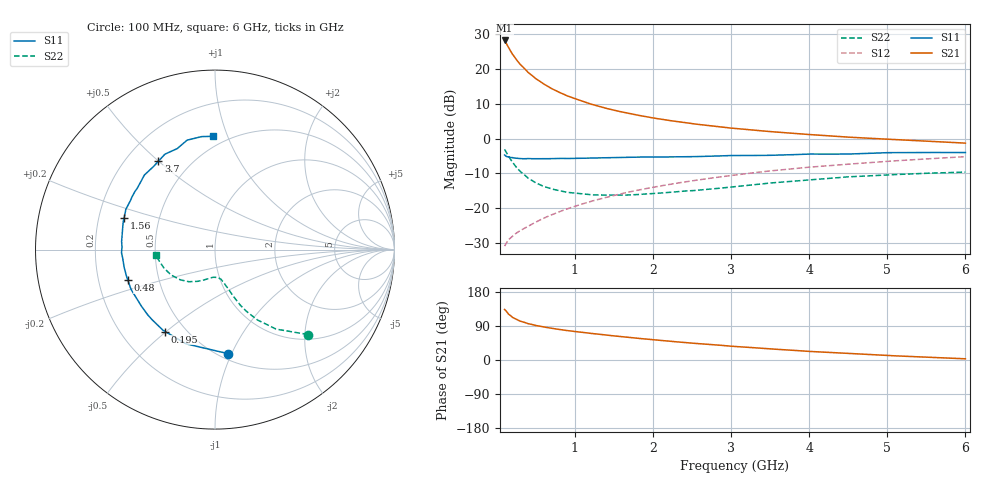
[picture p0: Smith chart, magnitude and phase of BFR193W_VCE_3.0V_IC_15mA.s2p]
! Infineon Technologies  Discrete & RF Semiconductors
! BFR193W
! VCE =  3.0 V,  IC =  15 mA
! Common Emitter S-Parameters:  Nov 2015
# GHz  S  MA  R  50
!  f  S11  S21  S12  S22
! GHz  MAG  ANG  MAG  ANG  MAG  ANG  MAG  ANG
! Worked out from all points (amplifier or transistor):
!   192 points, 100 MHz to 6 GHz, reference 50 ohm
!   highest |S21| = 28.2 dB at 100 MHz (marker M1)
!   |S21| within 3 dB of that: start of sweep to 175.6 MHz
!   unconditionally stable (mu >= 1): 846.7 MHz to 2.547 GHz
!   at 440 MHz: K = 0.83, MSG = 21.5 dB, |S12| = -24.7 dB
!   at 1.7 GHz: K = 1.03, MAG = 10.2 dB, |S12| = -15.3 dB
!   at 6 GHz: K = 0.91, MSG = 2.0 dB, |S12| = -5.2 dB
!   S11 on the Smith chart (normalised r, x): 100 MHz: 0.55, -0.97; 195 MHz: 0.39, -0.50; 480 MHz: 0.33, -0.15; 1.56 GHz: 0.31, +0.15; 3.7 GHz: 0.33, +0.50; 6 GHz: 0.42, +0.89
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0.1  0.5833 -83.1  25.79 133.4  0.0285 58.8  0.7017 -42.4
0.15  0.5492 -107.1  20.27 121.0  0.0353 54.2  0.5579 -52.5
0.195  0.5341 -121.3  16.8 113.7  0.0392 52.6  0.4687 -58.1
0.2  0.5345 -122.9  16.44 112.7  0.0396 52.4  0.4591 -58.8
0.24  0.5248 -131.9  14.22 108.2  0.0431 52.4  0.4006 -62.1
0.26  0.5222 -135.8  13.27 106.1  0.0447 52.6  0.3766 -63.5
0.3  0.5172 -142.4  11.68 102.4  0.0476 53.5  0.3384 -65.6
0.4  0.5176 -154.6  8.974 95.9  0.0549 56.0  0.2712 -69.0
0.48  0.5147 -160.9  7.612 92.2  0.0615 58.1  0.2392 -70.7
0.5  0.515 -162.5  7.278 91.1  0.0632 58.5  0.2313 -71.2
0.6  0.5157 -168.8  6.119 87.1  0.0719 60.4  0.206 -73.6
0.7  0.5156 -173.8  5.257 83.6  0.0802 62.0  0.1895 -75.0
0.9  0.5182 178.4  4.131 77.7  0.0979 64.1  0.1694 -78.3
1.1  0.5234 172.1  3.447 72.9  0.1158 65.1  0.1604 -82.2
1.36  0.5305 165.4  2.81 66.8  0.1396 65.5  0.1546 -87.6
1.56  0.5362 160.8  2.477 62.4  0.1583 65.4  0.154 -91.8
2.08  0.5449 149.7  1.922 52.0  0.2075 63.7  0.165 -102.0
3.1  0.5723 132.0  1.386 35.1  0.305 57.5  0.2064 -120.8
3.7  0.5844 122.7  1.215 26.8  0.3617 52.7  0.2398 -133.2
4.1  0.5997 116.3  1.127 21.7  0.397 49.3  0.2605 -141.2
5.1  0.6293 102.8  0.97 11.0  0.4803 40.9  0.3049 -162.0
6  0.6314 91.2  0.863 3.2  0.5507 32.8  0.3311 -175.1
